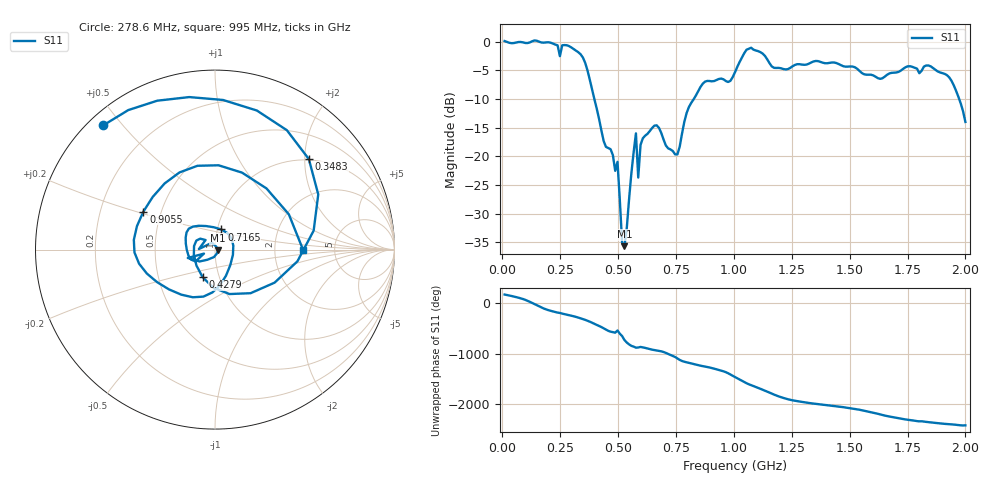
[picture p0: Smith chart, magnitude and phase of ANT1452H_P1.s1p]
!Created with skrf (http://scikit-rf.org).
# Hz S RI R 50.0
!freq ReS11 ImS11
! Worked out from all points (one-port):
!   201 points, 10 MHz to 2 GHz, reference 50 ohm
!   lowest |S11| = -35.6 dB at 527.4 MHz (marker M1), VSWR 1.03, Z = 51.7 - j0.298 ohm
!   |S11| at or under -10 dB: 397.6 MHz to 826.9 MHz (429.3 MHz wide, 70.1 % of centre); 1.973 GHz to end of sweep
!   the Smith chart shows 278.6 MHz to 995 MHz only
!   S11 on the Smith chart (normalised r, x): 278.6 MHz: 0.04, +0.44; 348.3 MHz: 0.98, +2.09; 427.9 MHz: 0.83, -0.26; 716.5 MHz: 1.05, +0.24; 905.5 MHz: 0.40, +0.21; 995 MHz: 2.93, -0.02
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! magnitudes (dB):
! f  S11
! 10 MHz  0.1
! 248.8 MHz  -2.5
! 258.8 MHz  -0.6
! 278.6 MHz  -0.6
! 348.3 MHz  -2.8
! 427.9 MHz  -15.5
! 487.6 MHz  -22.5
! 497.6 MHz  -20.9
! 507.5 MHz  -27.5
! 517.5 MHz  -35.0
! 527.4 MHz  -35.6
! 577.1 MHz  -16.0
! 587.1 MHz  -23.7
! 597 MHz  -18.0
! 656.8 MHz  -14.6
! 716.5 MHz  -18.6
! 756.2 MHz  -19.6
! 806 MHz  -11.4
! 905.5 MHz  -6.9
! 995 MHz  -6.2
! 1.005 GHz  -5.3
! 1.075 GHz  -1.1
! 1.254 GHz  -4.3
! 1.502 GHz  -4.3
! 1.632 GHz  -6.5
! 1.751 GHz  -4.3
! 1.92 GHz  -5.8
! 2 GHz  -14.0
